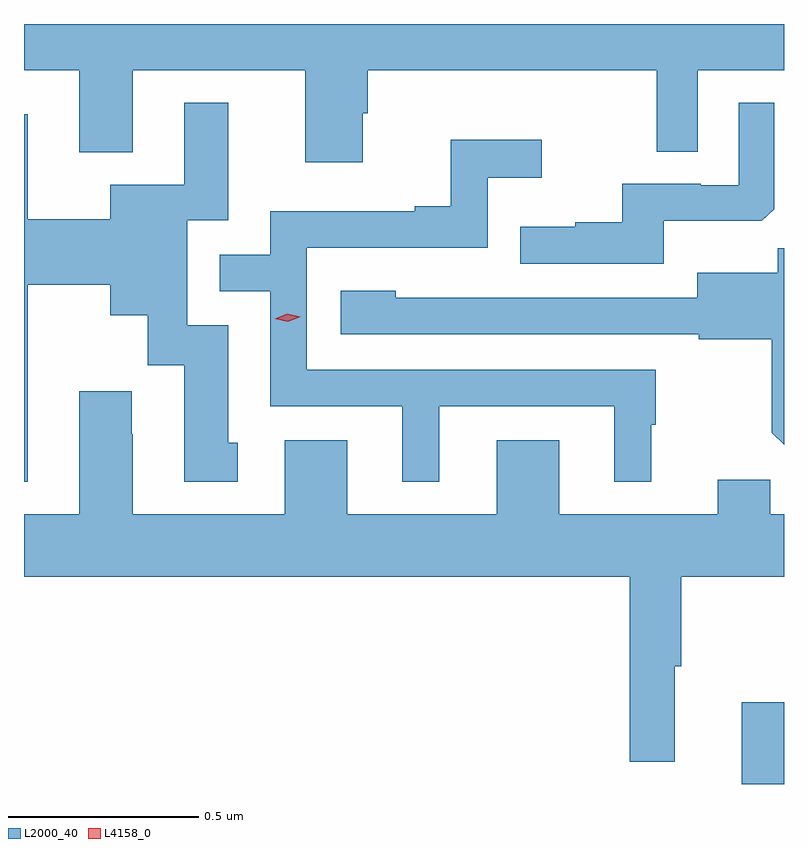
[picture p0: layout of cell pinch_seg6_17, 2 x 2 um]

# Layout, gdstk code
import gdstk
lib = gdstk.Library(unit=1e-6, precision=1e-09)
def R(c, l, rs):  # rectangles x0, y0, x1, y1
    for r in rs: c.add(gdstk.rectangle(r[:2], r[2:], *l))
def P(c, l, *ps):  # polygons
    for p in ps: c.add(gdstk.Polygon(p, *l))
L2000_40 = (2000, 40)
L4158_0 = (4158, 0)

pinch_seg6_17 = lib.new_cell('pinch_seg6_17')
R(pinch_seg6_17, L2000_40, [(966.872,961.442,966.983,961.657)])
P(pinch_seg6_17, L2000_40, [(965.875,963.207),(965.888,963.207),(965.888,963.32),(966.648,963.32),(966.648,963.106),(966.756,963.106),(966.756,963.32),(966.983,963.32),(966.983,963.442),(964.983,963.442),(964.983,963.32),(965.129,963.32),(965.129,963.104),(965.269,963.104),(965.269,963.32),(965.723,963.32),(965.723,963.078),(965.875,963.078)],
  [(964.993,962.756),(965.21,962.756),(965.21,962.675),(965.309,962.675),(965.309,962.544),(965.405,962.544),(965.405,962.238),(965.545,962.238),(965.545,962.34),(965.521,962.34),(965.521,962.649),(965.412,962.649),(965.412,962.925),(965.521,962.925),(965.521,963.235),(965.405,963.235),(965.405,963.019),(965.21,963.019),(965.21,962.928),(964.993,962.928),(964.993,963.205),(964.983,963.205),(964.983,962.237),(964.993,962.237)],
  [(966.667,962.924),(966.925,962.924),(966.957,962.955),(966.957,963.235),(966.864,963.235),(966.864,963.018),(966.764,963.018),(966.764,963.021),(966.557,963.021),(966.557,962.92),(966.433,962.92),(966.433,962.908),(966.289,962.908),(966.289,962.811),(966.667,962.811)],
  [(966.076,962.436),(966.536,962.436),(966.536,962.237),(966.634,962.237),(966.634,962.388),(966.646,962.388),(966.646,962.532),(965.727,962.532),(965.727,962.853),(966.204,962.853),(966.204,963.038),(966.346,963.038),(966.346,963.137),(966.106,963.137),(966.106,962.962),(966.011,962.962),(966.011,962.949),(965.631,962.949),(965.631,962.835),(965.498,962.835),(965.498,962.739),(965.631,962.739),(965.631,962.436),(965.978,962.436),(965.978,962.237),(966.076,962.237)],
  [(966.983,962.852),(966.966,962.852),(966.966,962.788),(966.755,962.788),(966.755,962.721),(966.197,962.721),(966.197,962.722),(965.961,962.722),(965.961,962.74),(965.817,962.74),(965.817,962.625),(966.759,962.625),(966.759,962.613),(966.951,962.613),(966.951,962.367),(966.983,962.335)],
  [(966.695,961.752),(966.713,961.752),(966.713,961.988),(966.983,961.988),(966.983,962.152),(966.947,962.152),(966.947,962.243),(966.809,962.243),(966.809,962.152),(966.391,962.152),(966.391,962.347),(966.227,962.347),(966.227,962.152),(965.833,962.152),(965.833,962.347),(965.669,962.347),(965.669,962.152),(965.269,962.152),(965.269,962.363),(965.266,962.363),(965.266,962.476),(965.129,962.476),(965.129,962.152),(964.983,962.152),(964.983,961.988),(966.577,961.988),(966.577,961.5),(966.695,961.5)])
P(pinch_seg6_17, L4158_0, [(965.677,962.659),(965.643,962.667),(965.642,962.667),(965.643,962.667),(965.676,962.679),(965.711,962.671),(965.711,962.671),(965.711,962.671)])

lib.write_gds('pinch_seg6_17.gds')
